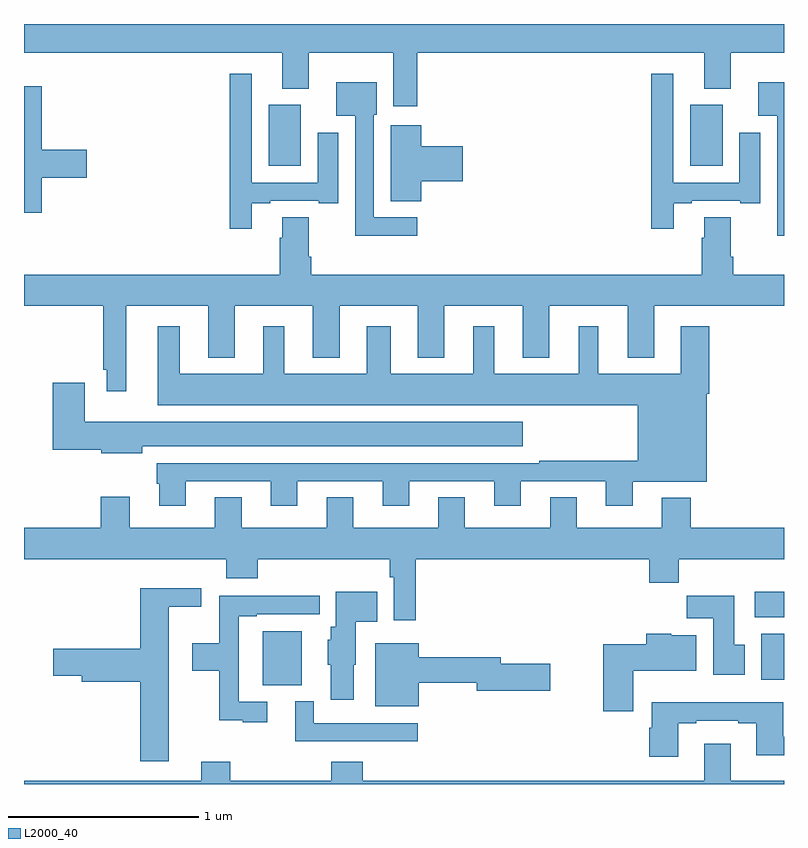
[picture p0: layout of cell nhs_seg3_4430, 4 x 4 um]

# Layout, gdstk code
import gdstk
lib = gdstk.Library(unit=1e-6, precision=1e-09)
def R(c, l, rs):  # rectangles x0, y0, x1, y1
    for r in rs: c.add(gdstk.rectangle(r[:2], r[2:], *l))
def P(c, l, *ps):  # polygons
    for p in ps: c.add(gdstk.Polygon(p, *l))
L2000_40 = (2000, 40)

nhs_seg3_4430 = lib.new_cell('nhs_seg3_4430')
R(nhs_seg3_4430, L2000_40, [(348.257,698.921,348.463,699.205), (350.879,698.948,351,699.19), (350.847,699.278,351,699.412), (348.287,701.654,348.457,701.974), (350.507,701.654,350.677,701.974)])
P(nhs_seg3_4430, L2000_40, [(349.07,702.248),(350.579,702.248),(350.579,702.059),(350.719,702.059),(350.719,702.248),(351,702.248),(351,702.4),(347,702.4),(347,702.248),(348.359,702.248),(348.359,702.059),(348.499,702.059),(348.499,702.248),(348.944,702.248),(348.944,701.967),(349.07,701.967)],
  [(348.199,701.457),(348.295,701.457),(348.295,701.469),(348.551,701.469),(348.551,701.457),(348.655,701.457),(348.655,701.827),(348.545,701.827),(348.545,701.565),(348.198,701.565),(348.198,702.139),(348.082,702.139),(348.082,701.322),(348.199,701.322)],
  [(350.419,701.457),(350.515,701.457),(350.515,701.469),(350.771,701.469),(350.771,701.457),(350.875,701.457),(350.875,701.827),(350.765,701.827),(350.765,701.565),(350.418,701.565),(350.418,702.139),(350.302,702.139),(350.302,701.322),(350.419,701.322)],
  [(351,702.094),(350.864,702.094),(350.864,701.918),(350.964,701.918),(350.964,701.285),(351,701.285)],
  [(349.069,701.382),(348.84,701.382),(348.84,701.922),(348.856,701.922),(348.856,702.094),(348.644,702.094),(348.644,701.918),(348.744,701.918),(348.744,701.285),(349.069,701.285)],
  [(347.093,701.591),(347.329,701.591),(347.329,701.738),(347.093,701.738),(347.093,702.073),(347,702.073),(347,701.406),(347.093,701.406)],
  [(349.091,701.573),(349.309,701.573),(349.309,701.756),(349.091,701.756),(349.091,701.866),(348.929,701.866),(348.929,701.467),(349.091,701.467)],
  [(347.539,700.916),(347.969,700.916),(347.969,700.643),(348.109,700.643),(348.109,700.916),(348.521,700.916),(348.521,700.643),(348.661,700.643),(348.661,700.916),(349.073,700.916),(349.073,700.643),(349.213,700.643),(349.213,700.916),(349.625,700.916),(349.625,700.643),(349.765,700.643),(349.765,700.916),(350.177,700.916),(350.177,700.643),(350.317,700.643),(350.317,700.916),(351,700.916),(351,701.08),(350.732,701.08),(350.732,701.176),(350.719,701.176),(350.719,701.384),(350.579,701.384),(350.579,701.276),(350.567,701.276),(350.567,701.08),(348.512,701.08),(348.512,701.176),(348.499,701.176),(348.499,701.384),(348.359,701.384),(348.359,701.276),(348.347,701.276),(348.347,701.08),(347,701.08),(347,700.916),(347.418,700.916),(347.418,700.579),(347.435,700.579),(347.435,700.467),(347.539,700.467)],
  [(347.851,699.993),(348.299,699.993),(348.299,699.864),(348.439,699.864),(348.439,699.993),(348.887,699.993),(348.887,699.864),(349.027,699.864),(349.027,699.993),(349.475,699.993),(349.475,699.864),(349.615,699.864),(349.615,699.993),(350.063,699.993),(350.063,699.864),(350.203,699.864),(350.203,699.992),(350.593,699.992),(350.593,700.454),(350.606,700.454),(350.606,700.81),(350.456,700.81),(350.456,700.558),(350.023,700.558),(350.023,700.81),(349.919,700.81),(349.919,700.558),(349.474,700.558),(349.474,700.81),(349.364,700.81),(349.364,700.558),(348.931,700.558),(348.931,700.81),(348.803,700.81),(348.803,700.558),(348.37,700.558),(348.37,700.81),(348.26,700.81),(348.26,700.558),(347.821,700.558),(347.821,700.81),(347.705,700.81),(347.705,700.394),(350.231,700.394),(350.231,700.102),(349.711,700.102),(349.711,700.089),(347.699,700.089),(347.699,699.981),(347.711,699.981),(347.711,699.864),(347.851,699.864)],
  [(347.623,700.178),(349.624,700.178),(349.624,700.306),(347.32,700.306),(347.32,700.513),(347.15,700.513),(347.15,700.16),(347.406,700.16),(347.406,700.142),(347.623,700.142)],
  [(349.061,699.584),(350.291,699.584),(350.291,699.46),(350.447,699.46),(350.447,699.584),(351,699.584),(351,699.748),(350.51,699.748),(350.51,699.907),(350.357,699.907),(350.357,699.748),(349.909,699.748),(349.909,699.908),(349.769,699.908),(349.769,699.748),(349.321,699.748),(349.321,699.908),(349.181,699.908),(349.181,699.748),(348.733,699.748),(348.733,699.908),(348.593,699.908),(348.593,699.748),(348.145,699.748),(348.145,699.908),(348.005,699.908),(348.005,699.748),(347.557,699.748),(347.557,699.913),(347.405,699.913),(347.405,699.748),(347,699.748),(347,699.584),(348.065,699.584),(348.065,699.482),(348.23,699.482),(348.23,699.584),(348.925,699.584),(348.925,699.488),(348.945,699.488),(348.945,699.261),(349.061,699.261)],
  [(347.761,699.332),(347.932,699.332),(347.932,699.43),(347.612,699.43),(347.612,699.111),(347.154,699.111),(347.154,698.969),(347.303,698.969),(347.303,698.939),(347.612,698.939),(347.612,698.52),(347.761,698.52)],
  [(348.736,699.027),(348.745,699.027),(348.745,699.254),(348.86,699.254),(348.86,699.412),(348.641,699.412),(348.641,699.228),(348.614,699.228),(348.614,699.159),(348.599,699.159),(348.599,699.027),(348.614,699.027),(348.614,698.844),(348.736,698.844)],
  [(348.28,698.832),(348.129,698.832),(348.129,699.282),(348.226,699.282),(348.226,699.294),(348.556,699.294),(348.556,699.392),(348.313,699.392),(348.313,699.39),(348.028,699.39),(348.028,699.142),(347.886,699.142),(347.886,698.995),(348.028,698.995),(348.028,698.735),(348.152,698.735),(348.152,698.724),(348.28,698.724)],
  [(350.794,699.132),(350.737,699.132),(350.737,699.391),(350.488,699.391),(350.488,699.272),(350.627,699.272),(350.627,698.976),(350.794,698.976)],
  [(350.206,698.996),(350.539,698.996),(350.539,699.184),(350.406,699.184),(350.406,699.19),(350.276,699.19),(350.276,699.136),(350.048,699.136),(350.048,698.784),(350.206,698.784)],
  [(349.078,698.932),(349.382,698.932),(349.382,698.89),(349.771,698.89),(349.771,699.032),(349.51,699.032),(349.51,699.068),(349.078,699.068),(349.078,699.142),(348.848,699.142),(348.848,698.81),(349.078,698.81)],
  [(349.072,698.721),(348.525,698.721),(348.525,698.836),(348.428,698.836),(348.428,698.625),(349.072,698.625)],
  [(350.443,698.721),(350.539,698.721),(350.539,698.733),(350.759,698.733),(350.759,698.721),(350.855,698.721),(350.855,698.552),(351,698.552),(351,698.649),(350.995,698.649),(350.995,698.83),(350.303,698.83),(350.303,698.696),(350.291,698.696),(350.291,698.544),(350.443,698.544)],
  [(351,698.416),(350.719,698.416),(350.719,698.611),(350.579,698.611),(350.579,698.416),(348.782,698.416),(348.782,698.518),(348.617,698.518),(348.617,698.416),(348.086,698.416),(348.086,698.518),(347.933,698.518),(347.933,698.416),(347,698.416),(347,698.4),(351,698.4)])

lib.write_gds('nhs_seg3_4430.gds')
